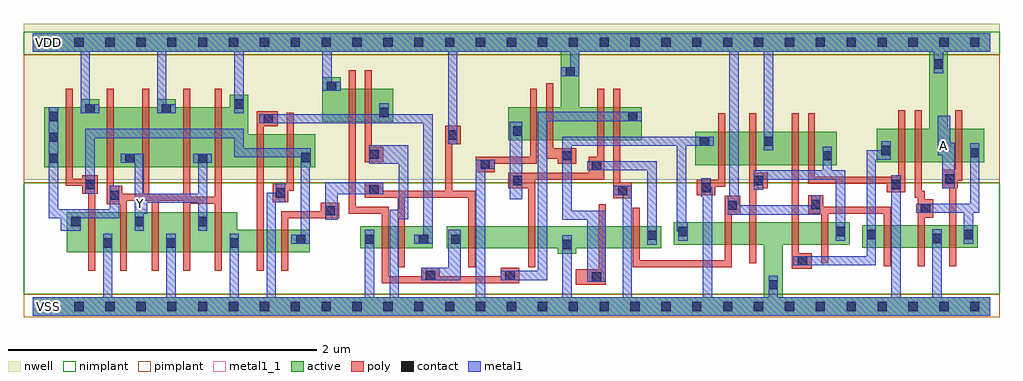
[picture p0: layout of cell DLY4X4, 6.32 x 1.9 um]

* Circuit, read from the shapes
.subckt DLY4X4 A VDD VSS Y
M1 VSS n1 n2 VSS nfet w=0.26u l=0.045u
M2 Y n2 VSS VSS nfet w=0.26u l=0.045u m=4
M3 n3 n4 VSS VSS nfet w=0.145u l=0.045u
M4 n1 VDD n3 VSS nfet w=0.145u l=0.045u
M5 n5 n6 VSS VSS nfet w=0.145u l=0.045u
M6 n4 VDD n5 VSS nfet w=0.145u l=0.045u
M7 n7 VDD n6 VSS nfet w=0.145u l=0.045u
M8 VSS n8 n7 VSS nfet w=0.145u l=0.045u
M9 n9 n10 VSS VSS nfet w=0.145u l=0.045u
M10 n8 VDD n9 VSS nfet w=0.145u l=0.045u
M11 n11 VDD n10 VSS nfet w=0.145u l=0.045u
M12 VSS n12 n11 VSS nfet w=0.145u l=0.045u
M13 n13 n14 VSS VSS nfet w=0.145u l=0.045u
M14 n12 VDD n13 VSS nfet w=0.145u l=0.045u
M15 n15 VDD n14 VSS nfet w=0.145u l=0.045u
M16 VSS n16 n15 VSS nfet w=0.145u l=0.045u
M17 n16 A VSS VSS nfet w=0.145u l=0.045u
M18 VDD n1 n2 VDD pfet w=0.39u l=0.045u
M19 Y n2 VDD VDD pfet w=0.39u l=0.045u m=4
M20 n17 n4 VDD VDD pfet w=0.215u l=0.045u
M21 n1 VSS n17 VDD pfet w=0.215u l=0.045u
M22 n18 n6 VDD VDD pfet w=0.215u l=0.045u
M23 n4 VSS n18 VDD pfet w=0.215u l=0.045u
M24 n19 VSS n8 VDD pfet w=0.215u l=0.045u
M25 VDD n10 n19 VDD pfet w=0.215u l=0.045u
M26 n20 n8 VDD VDD pfet w=0.215u l=0.045u
M27 n6 VSS n20 VDD pfet w=0.215u l=0.045u
M28 n21 VSS n10 VDD pfet w=0.215u l=0.045u
M29 VDD n12 n21 VDD pfet w=0.215u l=0.045u
M30 n22 n14 VDD VDD pfet w=0.215u l=0.045u
M31 n12 VSS n22 VDD pfet w=0.215u l=0.045u
M32 n23 VSS n14 VDD pfet w=0.215u l=0.045u
M33 VDD n16 n23 VDD pfet w=0.215u l=0.045u
M34 n16 A VDD VDD pfet w=0.215u l=0.045u
.ends

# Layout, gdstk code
import gdstk
lib = gdstk.Library(unit=1e-6, precision=5e-10)
def R(c, l, rs):  # rectangles x0, y0, x1, y1
    for r in rs: c.add(gdstk.rectangle(r[:2], r[2:], *l))
def A(c, l, x, y, w, h, nx, ny, dx, dy):  # array of equal rectangles
    R(c, l, [(x+i*dx, y+j*dy, x+i*dx+w, y+j*dy+h) for i in range(nx) for j in range(ny)])
def P(c, l, *ps):  # polygons
    for p in ps: c.add(gdstk.Polygon(p, *l))
active = (1, 0)
nwell = (2, 0)
poly = (3, 0)
nimplant = (4, 0)
pimplant = (5, 0)
contact = (6, 0)
metal1 = (7, 0)
metal1_1 = (7, 1)

dly4x4 = lib.new_cell('DLY4X4')
R(dly4x4, active, [(2.12,0.375,2.59,0.52), (5.37,0.38,6.12,0.525), (4.29,0.915,5.205,1.13)])
P(dly4x4, active, [(0,1.77),(6.2,1.77),(6.2,1.65),(5.925,1.65),(5.925,1.15),(6.16,1.15),(6.16,0.935),(5.465,0.935),(5.465,1.15),(5.805,1.15),(5.805,1.65),(3.54,1.65),(3.54,1.29),(3.945,1.29),(3.945,1.075),(3.08,1.075),(3.08,1.29),(3.42,1.29),(3.42,1.65),(0,1.65)],
  [(1.875,1.485),(1.995,1.485),(1.995,1.41),(2.335,1.41),(2.335,1.195),(1.875,1.195)],
  [(0.31,1.34),(0.43,1.34),(0.43,1.29),(0.805,1.29),(0.805,1.34),(0.925,1.34),(0.925,1.29),(1.275,1.29),(1.275,1.37),(1.395,1.37),(1.395,1.115),(1.83,1.115),(1.83,0.9),(0.075,0.9),(0.075,1.29),(0.31,1.29)],
  [(0.22,0.61),(1.325,0.61),(1.325,0.495),(1.795,0.495),(1.795,0.35),(0.22,0.35)],
  [(2.68,0.52),(4.07,0.52),(4.07,0.375),(3.52,0.375),(3.52,0.34),(3.4,0.34),(3.4,0.375),(2.68,0.375)],
  [(4.15,0.545),(5.29,0.545),(5.29,0.4),(4.855,0.4),(4.855,0.06),(6.2,0.06),(6.2,-0.06),(0,-0.06),(0,0.06),(4.735,0.06),(4.735,0.4),(4.15,0.4)])
R(dly4x4, nwell, [(-0.06,0.82,6.26,1.83)])
P(dly4x4, poly, [(2.045,1.53),(2.09,1.53),(2.09,0.645),(2.305,0.645),(2.305,0.195),(2.515,0.195),(2.515,0.25),(2.635,0.25),(2.635,0.195),(3.03,0.195),(3.03,0.25),(3.15,0.25),(3.15,0.15),(2.26,0.15),(2.26,0.6),(2.045,0.6)],
  [(2.15,1.53),(2.195,1.53),(2.195,1.035),(2.27,1.035),(2.27,0.935),(2.15,0.935)],
  [(3.22,1.41),(3.265,1.41),(3.265,0.925),(2.99,0.925),(2.99,0.87),(2.87,0.87),(2.87,0.97),(3.22,0.97)],
  [(3.325,1.445),(3.37,1.445),(3.37,1.025),(3.52,1.025),(3.52,0.925),(3.4,0.925),(3.4,0.955),(3.325,0.955)],
  [(0.215,1.41),(0.26,1.41),(0.26,0.825),(0.32,0.825),(0.32,0.85),(0.42,0.85),(0.42,0.73),(0.405,0.73),(0.405,0.23),(0.36,0.23),(0.36,0.73),(0.32,0.73),(0.32,0.78),(0.215,0.78)],
  [(0.48,1.41),(0.525,1.41),(0.525,0.78),(0.58,0.78),(0.58,0.73),(0.71,0.73),(0.71,1.41),(0.755,1.41),(0.755,0.73),(0.975,0.73),(0.975,1.41),(1.02,1.41),(1.02,0.71),(1.18,0.71),(1.18,1.41),(1.225,1.41),(1.225,0.23),(1.18,0.23),(1.18,0.665),(1.02,0.665),(1.02,0.23),(0.975,0.23),(0.975,0.685),(0.815,0.685),(0.815,0.23),(0.77,0.23),(0.77,0.685),(0.61,0.685),(0.61,0.23),(0.565,0.23),(0.565,0.66),(0.48,0.66)],
  [(1.45,1.265),(1.585,1.265),(1.585,1.165),(1.495,1.165),(1.495,0.23),(1.45,0.23)],
  [(1.645,1.255),(1.69,1.255),(1.69,0.75),(1.655,0.75),(1.655,0.675),(1.555,0.675),(1.555,0.795),(1.645,0.795)],
  [(2.67,1.17),(2.77,1.17),(2.77,1.05),(2.715,1.05),(2.715,0.75),(2.865,0.75),(2.865,0.255),(2.82,0.255),(2.82,0.705),(2.41,0.705),(2.41,0.255),(2.365,0.255),(2.365,0.705),(2.15,0.705),(2.15,0.805),(2.27,0.805),(2.27,0.75),(2.67,0.75)],
  [(3.655,1.41),(3.7,1.41),(3.7,0.82),(3.255,0.82),(3.255,0.255),(3.21,0.255),(3.21,0.765),(3.08,0.765),(3.08,0.865),(3.6,0.865),(3.6,0.97),(3.655,0.97)],
  [(3.76,1.41),(3.805,1.41),(3.805,0.8),(3.88,0.8),(3.88,0.7),(3.76,0.7)],
  [(4.44,1.25),(4.485,1.25),(4.485,0.775),(4.42,0.775),(4.42,0.72),(4.3,0.72),(4.3,0.82),(4.44,0.82)],
  [(4.64,1.25),(4.685,1.25),(4.685,0.865),(4.76,0.865),(4.76,0.765),(4.685,0.765),(4.685,0.28),(4.64,0.28)],
  [(4.915,1.25),(4.96,1.25),(4.96,0.345),(5.045,0.345),(5.045,0.245),(4.915,0.245)],
  [(5.02,1.25),(5.065,1.25),(5.065,0.84),(5.605,0.84),(5.605,1.27),(5.65,1.27),(5.65,0.74),(5.53,0.74),(5.53,0.795),(5.02,0.795)],
  [(5.71,1.27),(5.755,1.27),(5.755,0.75),(5.775,0.75),(5.775,0.695),(5.83,0.695),(5.83,0.575),(5.775,0.575),(5.775,0.26),(5.73,0.26),(5.73,0.705),(5.71,0.705)],
  [(5.975,1.27),(6.02,1.27),(6.02,0.815),(5.99,0.815),(5.99,0.765),(5.98,0.765),(5.98,0.26),(5.935,0.26),(5.935,0.765),(5.89,0.765),(5.89,0.885),(5.975,0.885)],
  [(3.885,0.64),(3.93,0.64),(3.93,0.3),(4.48,0.3),(4.48,0.715),(4.58,0.715),(4.58,0.595),(4.525,0.595),(4.525,0.255),(3.885,0.255)],
  [(5.02,0.72),(5.12,0.72),(5.12,0.645),(5.555,0.645),(5.555,0.26),(5.51,0.26),(5.51,0.6),(5.15,0.6),(5.15,0.28),(5.105,0.28),(5.105,0.6),(5.02,0.6)],
  [(1.865,0.67),(1.985,0.67),(1.985,0.57),(1.655,0.57),(1.655,0.23),(1.61,0.23),(1.61,0.615),(1.865,0.615)],
  [(3.665,0.66),(3.71,0.66),(3.71,0.14),(3.515,0.14),(3.515,0.24),(3.665,0.24)])
R(dly4x4, nimplant, [(-0.06,0.08,6.26,0.8), (-0.06,1.63,6.26,1.78)])
R(dly4x4, pimplant, [(-0.06,-0.07,6.26,0.08), (-0.06,0.8,6.26,1.63)])
A(dly4x4, contact, 0.07, -0.03, 0.06, 0.06, 31, 2, 0.2, 1.71)
A(dly4x4, contact, 0.455, 0.38, 0.06, 0.06, 3, 1, 0.41, 0)
A(dly4x4, contact, 0.25, 0.52, 0.06, 0.06, 3, 1, 0.41, 0)
A(dly4x4, contact, 0.105, 0.93, 0.06, 0.06, 1, 3, 0, 0.135)
R(dly4x4, contact, [(4.765,0.11,4.825,0.17), (3.62,0.16,3.68,0.22), (2.545,0.17,2.605,0.23), (3.06,0.17,3.12,0.23), (4.955,0.265,5.015,0.325), (3.43,0.37,3.49,0.43), (1.705,0.405,1.765,0.465), (2.15,0.405,2.21,0.465), (2.5,0.405,2.56,0.465), (2.71,0.405,2.77,0.465), (5.825,0.41,5.885,0.47), (3.98,0.43,4.04,0.49), (5.4,0.435,5.46,0.495), (6.03,0.435,6.09,0.495), (4.18,0.455,4.24,0.515), (5.2,0.455,5.26,0.515), (1.895,0.59,1.955,0.65), (5.75,0.605,5.81,0.665), (4.5,0.625,4.56,0.685), (5.04,0.63,5.1,0.69), (0.5,0.69,0.56,0.75), (1.575,0.705,1.635,0.765), (3.79,0.72,3.85,0.78), (2.18,0.725,2.24,0.785), (4.33,0.74,4.39,0.8), (0.34,0.76,0.4,0.82), (5.56,0.76,5.62,0.82), (3.11,0.785,3.17,0.845), (4.67,0.785,4.73,0.845), (5.91,0.795,5.97,0.855), (3.62,0.88,3.68,0.94), (2.9,0.89,2.96,0.95), (0.6,0.93,0.66,0.99), (1.07,0.93,1.13,0.99), (1.74,0.935,1.8,0.995), (3.43,0.945,3.49,1.005), (5.115,0.945,5.175,1.005), (2.18,0.955,2.24,1.015), (6.07,0.965,6.13,1.025), (5.495,0.98,5.555,1.04), (4.32,1.04,4.38,1.1), (4.735,1.04,4.795,1.1), (2.69,1.08,2.75,1.14), (3.11,1.105,3.17,1.165), (1.495,1.185,1.555,1.245), (3.855,1.2,3.915,1.26), (2.245,1.225,2.305,1.285), (0.34,1.25,0.4,1.31), (0.835,1.25,0.895,1.31), (1.305,1.28,1.365,1.34), (1.905,1.395,1.965,1.455), (3.45,1.49,3.51,1.55), (5.835,1.54,5.895,1.6)])
R(dly4x4, metal1, [(3.09,0.695,3.17,1.195)])
P(dly4x4, metal1, [(0,1.77),(6.2,1.77),(6.2,1.65),(5.895,1.65),(5.895,1.51),(5.835,1.51),(5.835,1.65),(4.795,1.65),(4.795,1.01),(4.735,1.01),(4.735,1.65),(4.57,1.65),(4.57,0.655),(5.04,0.655),(5.04,0.72),(5.1,0.72),(5.1,0.595),(4.5,0.595),(4.5,0.715),(4.51,0.715),(4.51,1.65),(3.54,1.65),(3.54,1.49),(3.42,1.49),(3.42,1.55),(3.48,1.55),(3.48,1.65),(2.75,1.65),(2.75,1.05),(2.69,1.05),(2.69,1.65),(1.935,1.65),(1.935,1.455),(1.995,1.455),(1.995,1.395),(1.875,1.395),(1.875,1.65),(1.365,1.65),(1.365,1.25),(1.305,1.25),(1.305,1.65),(0.865,1.65),(0.865,1.31),(0.925,1.31),(0.925,1.25),(0.805,1.25),(0.805,1.65),(0.37,1.65),(0.37,1.31),(0.43,1.31),(0.43,1.25),(0.31,1.25),(0.31,1.65),(0,1.65)],
  [(0.105,1.29),(0.165,1.29),(0.165,0.63),(0.5,0.63),(0.5,0.78),(0.56,0.78),(0.56,0.57),(0.31,0.57),(0.31,0.49),(0.18,0.49),(0.18,0.57),(0.105,0.57)],
  [(2.245,1.315),(2.305,1.315),(2.305,1.245),(2.59,1.245),(2.59,0.405),(2.47,0.405),(2.47,0.465),(2.53,0.465),(2.53,1.185),(1.465,1.185),(1.465,1.245),(2.245,1.245)],
  [(0.34,1.15),(1.365,1.15),(1.365,1.025),(1.8,1.025),(1.8,0.905),(1.795,0.905),(1.795,0.405),(1.675,0.405),(1.675,0.465),(1.735,0.465),(1.735,0.965),(1.305,0.965),(1.305,1.09),(0.4,1.09),(0.4,0.73),(0.34,0.73)],
  [(0.57,0.99),(0.72,0.99),(0.72,0.73),(1.07,0.73),(1.07,0.93),(1.04,0.93),(1.04,0.99),(1.16,0.99),(1.16,0.93),(1.13,0.93),(1.13,0.49),(1.07,0.49),(1.07,0.67),(0.74,0.67),(0.74,0.6),(0.72,0.6),(0.72,0.49),(0.66,0.49),(0.66,0.93),(0.57,0.93)],
  [(2.18,1.045),(2.43,1.045),(2.43,0.565),(2.37,0.565),(2.37,0.06),(2.87,0.06),(2.87,0.95),(2.99,0.95),(2.99,0.89),(2.93,0.89),(2.93,0.06),(3.43,0.06),(3.43,0.46),(3.49,0.46),(3.49,0.06),(3.82,0.06),(3.82,0.72),(3.76,0.72),(3.76,0.78),(3.88,0.78),(3.88,0.06),(4.34,0.06),(4.34,0.71),(4.33,0.71),(4.33,0.83),(4.39,0.83),(4.39,0.77),(4.4,0.77),(4.4,0.06),(4.765,0.06),(4.765,0.2),(4.825,0.2),(4.825,0.06),(5.56,0.06),(5.56,0.85),(5.62,0.85),(5.62,0.06),(5.825,0.06),(5.825,0.5),(5.885,0.5),(5.885,0.06),(6.2,0.06),(6.2,-0.06),(0,-0.06),(0,0.06),(0.455,0.06),(0.455,0.47),(0.515,0.47),(0.515,0.06),(0.865,0.06),(0.865,0.47),(0.925,0.47),(0.925,0.06),(1.275,0.06),(1.275,0.47),(1.335,0.47),(1.335,0.06),(1.515,0.06),(1.515,0.735),(1.575,0.735),(1.575,0.795),(1.635,0.795),(1.635,0.675),(1.575,0.675),(1.575,0.06),(2.15,0.06),(2.15,0.495),(2.21,0.495),(2.21,0.06),(2.31,0.06),(2.31,0.625),(2.37,0.625),(2.37,0.925),(2.18,0.925)],
  [(1.895,0.805),(2.27,0.805),(2.27,0.725),(1.975,0.725),(1.975,0.56),(1.895,0.56)],
  [(3.27,1.26),(3.945,1.26),(3.945,1.2),(3.33,1.2),(3.33,0.17),(3.03,0.17),(3.03,0.23),(3.27,0.23)],
  [(2.69,0.495),(2.77,0.495),(2.77,0.17),(2.515,0.17),(2.515,0.25),(2.69,0.25)],
  [(3.43,1.1),(4.41,1.1),(4.41,1.04),(4.23,1.04),(4.23,0.545),(4.24,0.545),(4.24,0.425),(4.18,0.425),(4.18,0.485),(4.17,0.485),(4.17,1.04),(3.49,1.04),(3.49,0.62),(3.71,0.62),(3.71,0.16),(3.59,0.16),(3.59,0.56),(3.43,0.56)],
  [(3.59,0.94),(4.04,0.94),(4.04,0.4),(3.98,0.4),(3.98,0.88),(3.59,0.88)],
  [(5.115,1.035),(5.175,1.035),(5.175,0.88),(5.26,0.88),(5.26,0.425),(5.2,0.425),(5.2,0.82),(4.73,0.82),(4.73,0.755),(4.67,0.755),(4.67,0.88),(5.115,0.88)],
  [(5.495,1.07),(5.555,1.07),(5.555,0.95),(5.46,0.95),(5.46,0.265),(4.925,0.265),(4.925,0.325),(5.4,0.325),(5.4,1.01),(5.495,1.01)],
  [(6.07,1.055),(6.13,1.055),(6.13,0.605),(6.09,0.605),(6.09,0.405),(6.03,0.405),(6.03,0.605),(5.72,0.605),(5.72,0.665),(6.07,0.665)],
  [(5.86,1.235),(5.94,1.235),(5.94,1.06),(5.97,1.06),(5.97,0.765),(5.89,0.765),(5.89,0.98),(5.86,0.98)])
R(dly4x4, metal1_1, [(0.06,-0.04,0.14,0.04), (0.66,0.625,0.74,0.705), (5.86,1.005,5.94,1.085), (0.06,1.67,0.14,1.75)])
dly4x4.add(gdstk.Label('A', (5.9,1.045), layer=7, texttype=1))
dly4x4.add(gdstk.Label('Y', (0.7,0.665), layer=7, texttype=1))
dly4x4.add(gdstk.Label('VDD', (0.1,1.71), layer=7, texttype=1))
dly4x4.add(gdstk.Label('VSS', (0.1,0), layer=7, texttype=1))
dly4x4.add(gdstk.Label('DLY4X4', (0,0), layer=63, texttype=0))

lib.write_gds('DLY4X4.gds')
